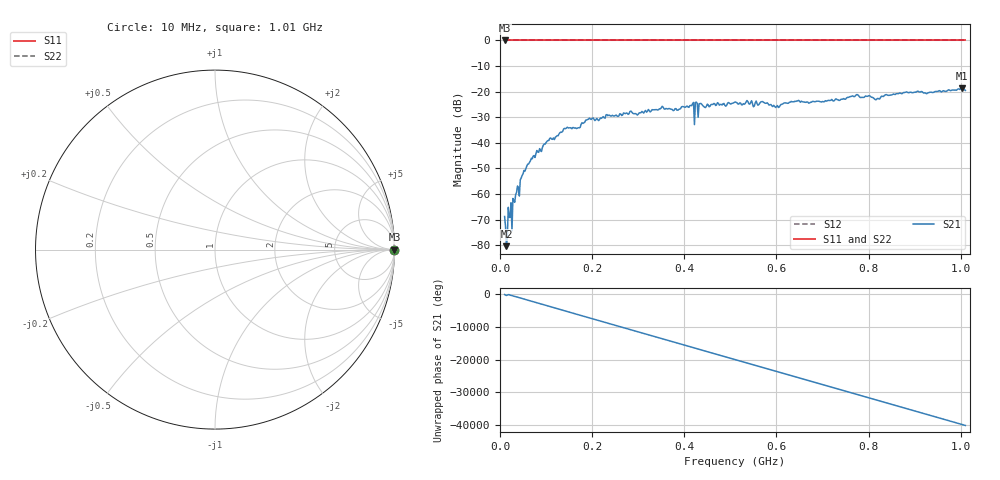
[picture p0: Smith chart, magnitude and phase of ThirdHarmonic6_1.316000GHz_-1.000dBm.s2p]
! 8/16/2025 2:36:02 PM
! C:\ANRITSUVNA\TEMP\TEMP.S2P
! CHANNEL.1
! TR.MEASUREMENT
! RAW.DATA
! RF.CORRECTION.OFF
! AVERAGING.OFF
! IF.BANDWIDTH: 5KHZ
! SWEEPTYPE:  FREQ.SWEEP(Linear)
! Reference Plane Port Info
! PORT:  PORT1  PORT2
! DISTANCE:  0  m  0  m
! TIME:  0  s  0  s
! PHASE.OFFSET:  0  deg.  0  deg.
! LOSS:  0  dB  0  dB
! REF.LOSS:  0  dB  0  dB
! REF.FREQ:  0  Hz  0  Hz
! Power Info
! POWER:  -20  dBm  -20  dBm
! EFF.POWER:  -20  dBm  -20  dBm
! SOURCE.ATTEN:  0  dB  0  dB
! TEST.ATTEN:  0  dB  0  dB
# GHZ S RI R 50.0
! FREQ.GHZ  S11RE  S11IM  S21RE  S21IM  S12RE  S12IM  S22RE  S22IM
!; PortSelection: Port_12
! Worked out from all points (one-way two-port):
!   501 points, 10 MHz to 1.01 GHz, reference 50 ohm
!   highest |S21| = -18.69 dB at 1.002 GHz (marker M1); lowest = -80.3 dB at 14 MHz (marker M2)
!   lowest |S11| = 0.0 dB at 10 MHz (marker M3)
!   |S11| at or under -10 dB: nowhere
!   |S22| runs from 0.0 to 0.0 dB; largest |S21 - S12| = 1.1
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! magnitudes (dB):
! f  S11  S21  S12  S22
! 10 MHz  0.0  -68.8  0.0  0.0
! 14 MHz  0.0  -80.3  0.0  0.0
! 18 MHz  0.0  -65.2  0.0  0.0
! 20 MHz  0.0  -69.1  0.0  0.0
! 30 MHz  0.0  -62.6  0.0  0.0
! 32 MHz  0.0  -63.2  0.0  0.0
! 48 MHz  0.0  -52.7  0.0  0.0
! 70 MHz  0.0  -46.2  0.0  0.0
! 106 MHz  0.0  -39.1  0.0  0.0
! 142 MHz  0.0  -34.5  0.0  0.0
! 178 MHz  0.0  -32.1  0.0  0.0
! 234 MHz  0.0  -29.4  0.0  0.0
! 344 MHz  0.0  -27.1  0.0  0.0
! 416 MHz  0.0  -25.5  0.0  0.0
! 426 MHz  0.0  -24.1  0.0  0.0
! 436 MHz  0.0  -24.6  0.0  0.0
! 510 MHz  0.0  -24.1  0.0  0.0
! 602 MHz  0.0  -25.4  0.0  0.0
! 678 MHz  0.0  -23.8  0.0  0.0
! 844 MHz  0.0  -21.4  0.0  0.0
! 1.002 GHz  0.0  -18.7  0.0  0.0
! 1.01 GHz  0.0  -19.5  0.0  0.0
